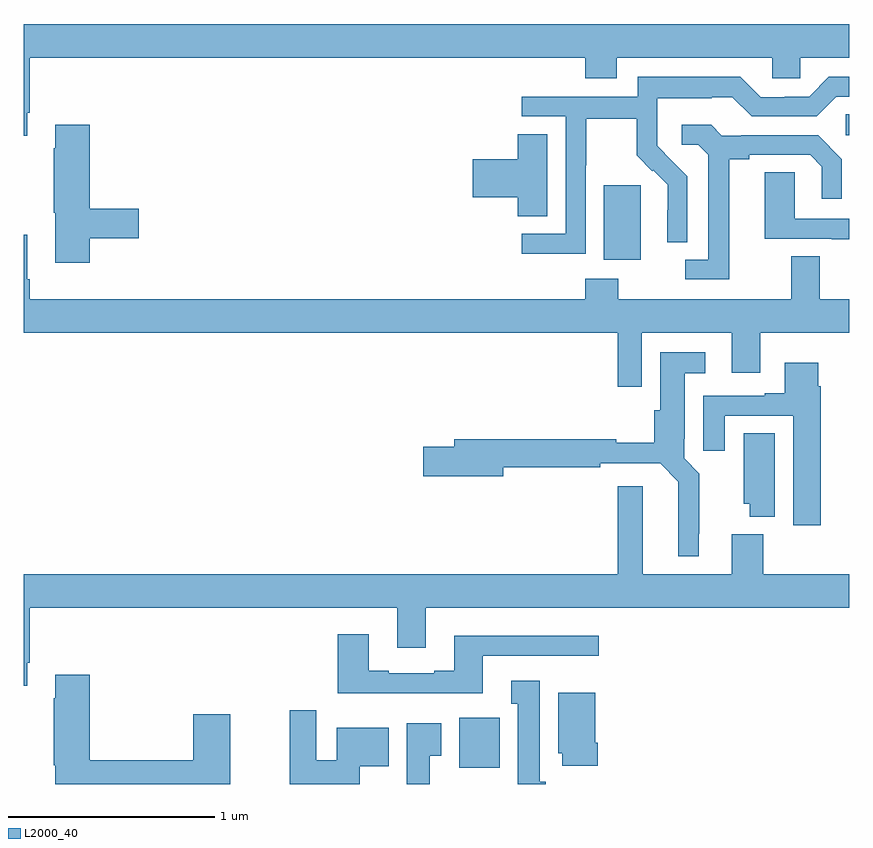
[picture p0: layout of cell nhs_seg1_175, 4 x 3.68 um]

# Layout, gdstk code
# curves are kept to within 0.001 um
import gdstk
lib = gdstk.Library(unit=1e-6, precision=1e-09)
def R(c, l, rs):  # rectangles x0, y0, x1, y1
    for r in rs: c.add(gdstk.rectangle(r[:2], r[2:], *l))
def P(c, l, *ps):  # polygons
    for p in ps: c.add(gdstk.Polygon(p, *l))
L2000_40 = (2000, 40)

nhs_seg1_175 = lib.new_cell('nhs_seg1_175')
R(nhs_seg1_175, L2000_40, [(121.109,564.278,121.306,564.52), (121.811,566.738,121.99,567.099), (122.982,567.342,123,567.443)])
P(nhs_seg1_175, L2000_40, [(119.017,567.451),(119.03,567.451),(119.03,567.716),(121.721,567.716),(121.721,567.617),(121.873,567.617),(121.873,567.716),(122.625,567.716),(122.625,567.618),(122.763,567.618),(122.763,567.716),(123,567.716),(123,567.88),(119,567.88),(119,567.339),(119.017,567.339)],
  [(121.722,567.196),(121.725,567.196),(121.725,567.42),(121.969,567.42),(121.969,567.245),(122.046,567.168),(122.049,567.171),(122.12,567.101),(122.12,566.978),(122.118,566.978),(122.118,566.824),(122.214,566.824),(122.214,567.142),(122.068,567.29),(122.068,567.387),(122.07,567.387),(122.07,567.521),(122.333,567.521),(122.333,567.525),(122.433,567.525),(122.526,567.432),(122.841,567.432),(122.937,567.528),(123,567.528),(123,567.624),(122.901,567.624),(122.805,567.528),(122.687,567.528),(122.687,567.525),(122.571,567.525),(122.471,567.625),(121.974,567.625),(121.974,567.528),(121.413,567.528),(121.413,567.432),(121.626,567.432),(121.626,566.865),(121.413,566.865),(121.413,566.767),(121.722,566.767)],
  [(122.419,567.224),(122.515,567.224),(122.515,567.246),(122.81,567.246),(122.867,567.189),(122.867,567.033),(122.964,567.033),(122.964,567.226),(122.848,567.342),(122.476,567.342),(122.476,567.339),(122.382,567.339),(122.33,567.391),(122.187,567.391),(122.187,567.294),(122.268,567.294),(122.315,567.247),(122.315,566.739),(122.205,566.739),(122.205,566.643),(122.419,566.643)],
  [(119.321,566.842),(119.557,566.842),(119.557,566.984),(119.321,566.984),(119.321,567.391),(119.153,567.391),(119.153,567.278),(119.146,567.278),(119.146,566.967),(119.153,566.967),(119.153,566.724),(119.321,566.724)],
  [(121.537,567.347),(121.394,567.347),(121.394,567.224),(121.176,567.224),(121.176,567.041),(121.394,567.041),(121.394,566.95),(121.537,566.95)],
  [(123,566.937),(122.736,566.937),(122.736,567.161),(122.591,567.161),(122.591,566.841),(122.915,566.841),(122.915,566.837),(123,566.837)],
  [(121.995,566.384),(122.429,566.384),(122.429,566.19),(122.569,566.19),(122.569,566.384),(123,566.384),(123,566.548),(122.857,566.548),(122.857,566.756),(122.717,566.756),(122.717,566.548),(121.881,566.548),(121.881,566.647),(121.721,566.647),(121.721,566.548),(119.03,566.548),(119.03,566.644),(119.017,566.644),(119.017,566.86),(119,566.86),(119,566.384),(121.879,566.384),(121.879,566.124),(121.995,566.124)],
  [(122.269,565.411),(122.273,565.411),(122.273,565.702),(122.199,565.776),(122.199,565.87),(122.203,565.87),(122.203,566.189),(122.302,566.189),(122.302,566.29),(122.084,566.29),(122.084,566.01),(122.054,566.01),(122.054,565.853),(121.87,565.853),(121.87,565.868),(121.085,565.868),(121.085,565.832),(120.936,565.832),(120.936,565.69),(121.324,565.69),(121.324,565.732),(121.793,565.732),(121.793,565.752),(122.084,565.752),(122.172,565.664),(122.171,565.301),(122.269,565.301)],
  [(122.861,566.126),(122.848,566.126),(122.848,566.239),(122.687,566.239),(122.687,566.092),(122.591,566.092),(122.591,566.079),(122.291,566.079),(122.291,565.812),(122.395,565.812),(122.395,565.983),(122.729,565.983),(122.729,565.452),(122.861,565.452)],
  [(122.638,565.898),(122.489,565.898),(122.489,565.557),(122.516,565.557),(122.516,565.493),(122.638,565.493)],
  [(119.017,564.787),(119.03,564.787),(119.03,565.052),(120.809,565.052),(120.809,564.858),(120.949,564.858),(120.949,565.052),(123,565.052),(123,565.216),(122.582,565.216),(122.582,565.408),(122.429,565.408),(122.429,565.216),(121.999,565.216),(121.999,565.642),(121.877,565.642),(121.877,565.216),(119,565.216),(119,564.675),(119.017,564.675)],
  [(121.225,564.819),(121.786,564.819),(121.786,564.916),(121.085,564.916),(121.085,564.748),(120.989,564.748),(120.989,564.735),(120.769,564.735),(120.769,564.748),(120.673,564.748),(120.673,564.925),(120.521,564.925),(120.521,564.638),(121.225,564.638)],
  [(120,564.538),(119.822,564.538),(119.822,564.314),(119.321,564.314),(119.321,564.727),(119.153,564.727),(119.153,564.614),(119.146,564.614),(119.146,564.291),(119.153,564.291),(119.153,564.199),(120,564.199)],
  [(121.528,564.21),(121.501,564.21),(121.501,564.7),(121.361,564.7),(121.361,564.587),(121.394,564.587),(121.394,564.199),(121.528,564.199)],
  [(121.781,564.4),(121.768,564.4),(121.768,564.64),(121.589,564.64),(121.589,564.348),(121.61,564.348),(121.61,564.288),(121.781,564.288)],
  [(120.628,564.284),(120.769,564.284),(120.769,564.472),(120.518,564.472),(120.518,564.315),(120.418,564.315),(120.418,564.556),(120.289,564.556),(120.289,564.199),(120.628,564.199)],
  [(120.967,564.337),(121.024,564.337),(121.024,564.493),(120.857,564.493),(120.857,564.199),(120.967,564.199)])

lib.write_gds('nhs_seg1_175.gds')
